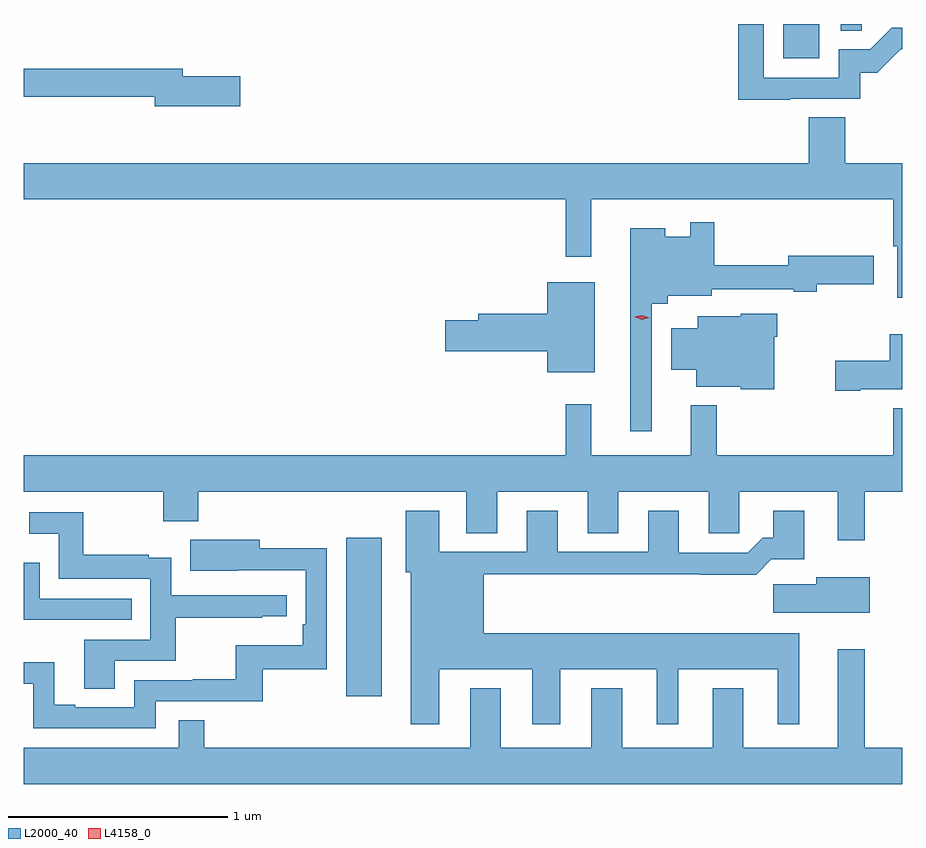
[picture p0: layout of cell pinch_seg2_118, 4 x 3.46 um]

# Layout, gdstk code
import gdstk
lib = gdstk.Library(unit=1e-6, precision=1e-09)
def R(c, l, rs):  # rectangles x0, y0, x1, y1
    for r in rs: c.add(gdstk.rectangle(r[:2], r[2:], *l))
def P(c, l, *ps):  # polygons
    for p in ps: c.add(gdstk.Polygon(p, *l))
L2000_40 = (2000, 40)
L4158_0 = (4158, 0)

pinch_seg2_118 = lib.new_cell('pinch_seg2_118')
R(pinch_seg2_118, L2000_40, [(1065.761,624.06,1065.922,624.781), (1067.75,626.964,1067.914,627.121), (1068.012,627.091,1068.107,627.121)])
P(pinch_seg2_118, L2000_40, [(1067.783,626.781),(1068.102,626.781),(1068.102,626.898),(1068.178,626.898),(1068.285,627.005),(1068.292,627.005),(1068.292,627.104),(1068.245,627.104),(1068.147,627.006),(1068.003,627.006),(1068.003,626.877),(1067.661,626.877),(1067.661,627.121),(1067.545,627.121),(1067.545,626.776),(1067.783,626.776)],
  [(1065.277,626.882),(1065.016,626.882),(1065.016,626.918),(1064.292,626.918),(1064.292,626.79),(1064.888,626.79),(1064.888,626.747),(1065.277,626.747)],
  [(1068.032,626.696),(1067.867,626.696),(1067.867,626.488),(1064.292,626.488),(1064.292,626.324),(1066.759,626.324),(1066.759,626.061),(1066.876,626.061),(1066.876,626.324),(1068.252,626.324),(1068.252,626.108),(1068.269,626.108),(1068.269,625.875),(1068.292,625.875),(1068.292,626.488),(1068.032,626.488)],
  [(1067.151,625.847),(1067.225,625.847),(1067.225,625.883),(1067.425,625.883),(1067.425,625.914),(1067.798,625.914),(1067.798,625.902),(1067.902,625.902),(1067.902,625.936),(1068.163,625.936),(1068.163,626.065),(1067.774,626.065),(1067.774,626.023),(1067.437,626.023),(1067.437,626.218),(1067.328,626.218),(1067.328,626.152),(1067.212,626.152),(1067.212,626.191),(1067.054,626.191),(1067.054,625.266),(1067.151,625.266)],
  [(1066.891,625.945),(1066.676,625.945),(1066.676,625.802),(1066.361,625.802),(1066.361,625.772),(1066.212,625.772),(1066.212,625.63),(1066.676,625.63),(1066.676,625.535),(1066.891,625.535)],
  [(1067.71,625.697),(1067.723,625.697),(1067.723,625.801),(1067.556,625.801),(1067.556,625.789),(1067.36,625.789),(1067.36,625.735),(1067.24,625.735),(1067.24,625.547),(1067.354,625.547),(1067.354,625.469),(1067.556,625.469),(1067.556,625.457),(1067.71,625.457)],
  [(1068.1,625.457),(1068.292,625.457),(1068.292,625.708),(1068.236,625.708),(1068.236,625.587),(1067.988,625.587),(1067.988,625.45),(1068.1,625.45)],
  [(1068.121,624.992),(1068.292,624.992),(1068.292,625.372),(1068.252,625.372),(1068.252,625.156),(1067.447,625.156),(1067.447,625.384),(1067.33,625.384),(1067.33,625.156),(1066.877,625.156),(1066.877,625.39),(1066.759,625.39),(1066.759,625.156),(1064.292,625.156),(1064.292,624.992),(1064.926,624.992),(1064.926,624.857),(1065.086,624.857),(1065.086,624.992),(1066.307,624.992),(1066.307,624.802),(1066.447,624.802),(1066.447,624.992),(1066.859,624.992),(1066.859,624.802),(1066.999,624.802),(1066.999,624.992),(1067.411,624.992),(1067.411,624.802),(1067.55,624.802),(1067.55,624.992),(1067.999,624.992),(1067.999,624.771),(1068.121,624.771)],
  [(1066.183,624.182),(1066.607,624.182),(1066.607,623.931),(1066.735,623.931),(1066.735,624.182),(1067.174,624.182),(1067.174,623.931),(1067.272,623.931),(1067.272,624.182),(1067.726,624.182),(1067.726,623.931),(1067.824,623.931),(1067.824,624.346),(1066.387,624.346),(1066.387,624.616),(1067.371,624.616),(1067.371,624.614),(1067.627,624.614),(1067.696,624.683),(1067.845,624.683),(1067.845,624.904),(1067.705,624.904),(1067.705,624.781),(1067.656,624.781),(1067.589,624.714),(1067.275,624.714),(1067.275,624.904),(1067.135,624.904),(1067.135,624.717),(1066.723,624.717),(1066.723,624.904),(1066.583,624.904),(1066.583,624.717),(1066.183,624.717),(1066.183,624.904),(1066.031,624.904),(1066.031,624.624),(1066.055,624.624),(1066.055,623.931),(1066.183,623.931)],
  [(1064.707,624.222),(1064.984,624.222),(1064.984,624.418),(1065.377,624.418),(1065.377,624.423),(1065.49,624.423),(1065.49,624.519),(1064.964,624.519),(1064.964,624.691),(1064.861,624.691),(1064.861,624.703),(1064.563,624.703),(1064.563,624.897),(1064.317,624.897),(1064.317,624.8),(1064.452,624.8),(1064.452,624.594),(1064.868,624.594),(1064.868,624.318),(1064.567,624.318),(1064.567,624.094),(1064.707,624.094)],
  [(1064.892,624.036),(1065.379,624.036),(1065.379,624.183),(1065.672,624.183),(1065.672,624.734),(1065.367,624.734),(1065.367,624.772),(1065.049,624.772),(1065.049,624.632),(1065.263,624.632),(1065.263,624.633),(1065.576,624.633),(1065.576,624.388),(1065.563,624.388),(1065.563,624.292),(1065.258,624.292),(1065.258,624.137),(1065.061,624.137),(1065.061,624.132),(1064.796,624.132),(1064.796,624.009),(1064.527,624.009),(1064.527,624.022),(1064.431,624.022),(1064.431,624.215),(1064.292,624.215),(1064.292,624.117),(1064.334,624.117),(1064.334,623.913),(1064.892,623.913)],
  [(1064.783,624.504),(1064.364,624.504),(1064.364,624.667),(1064.292,624.667),(1064.292,624.408),(1064.783,624.408)],
  [(1068.145,624.601),(1067.9,624.601),(1067.9,624.569),(1067.706,624.569),(1067.706,624.44),(1068.145,624.44)],
  [(1068.292,623.824),(1068.121,623.824),(1068.121,624.274),(1067.999,624.274),(1067.999,623.824),(1067.569,623.824),(1067.569,624.097),(1067.429,624.097),(1067.429,623.824),(1067.017,623.824),(1067.017,624.097),(1066.877,624.097),(1066.877,623.824),(1066.465,623.824),(1066.465,624.097),(1066.325,624.097),(1066.325,623.824),(1065.113,623.824),(1065.113,623.951),(1064.997,623.951),(1064.997,623.824),(1064.292,623.824),(1064.292,623.66),(1068.292,623.66)])
P(pinch_seg2_118, L4158_0, [(1067.105,625.775),(1067.071,625.787),(1067.07,625.787),(1067.071,625.787),(1067.106,625.795),(1067.141,625.783),(1067.141,625.783),(1067.141,625.783)])

lib.write_gds('pinch_seg2_118.gds')
